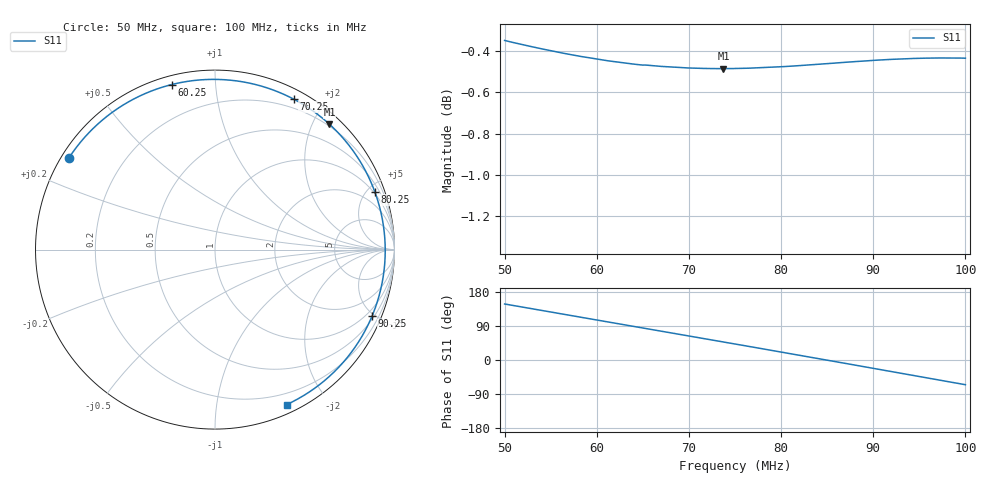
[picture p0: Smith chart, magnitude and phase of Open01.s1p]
!Agilent Technologies,E5072A,MY51200456,A.01.06
!Date: Tue Sep 01 19:45:46 2015
!Data & Calibration Information:
!Freq	S11:SOLT1(ON)
!PortZ  Port1:50+j0
!Above PortZ is port z conversion or system Z0 setting when saving the data.
!When reading, reference impedance value at option line is always used.
# Hz S dB R 50
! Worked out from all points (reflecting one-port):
!   201 points, 50 MHz to 100 MHz, reference 50 ohm
!   lowest |S11| = -0.5 dB at 73.75 MHz (marker M1), VSWR 35.90, Z = 8.52 + j113 ohm
!   phase of S11 starts at 148 deg and turns -213 deg over the sweep
!   S11 on the Smith chart (normalised r, x): 50 MHz: 0.02, +0.29; 60.25 MHz: 0.04, +0.77; 70.25 MHz: 0.10, +1.65; 80.25 MHz: 0.89, +5.56; 90.25 MHz: 0.63, -4.83; 100 MHz: 0.09, -1.56
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5e7  -0.35 147.8
5.325e7  -0.38 134.1
5.625e7  -0.41 121.5
5.825e7  -0.42 113.1
6.025e7  -0.44 104.6
6.25e7  -0.45 95.2
6.4e7  -0.46 88.8
6.55e7  -0.47 82.5
6.725e7  -0.47 75.1
6.875e7  -0.48 68.8
7.025e7  -0.48 62.4
7.2e7  -0.48 55.0
7.375e7  -0.48 47.6
7.5e7  -0.48 42.3
7.775e7  -0.48 30.6
8.025e7  -0.47 19.9
8.125e7  -0.47 15.6
8.3e7  -0.47 8.1
8.45e7  -0.46 1.7
8.6e7  -0.46 -4.7
8.75e7  -0.45 -11.2
9.025e7  -0.44 -23.0
9.2e7  -0.44 -30.6
9.375e7  -0.44 -38.2
9.525e7  -0.43 -44.6
9.7e7  -0.43 -52.2
9.85e7  -0.43 -58.7
1e8  -0.43 -65.2
